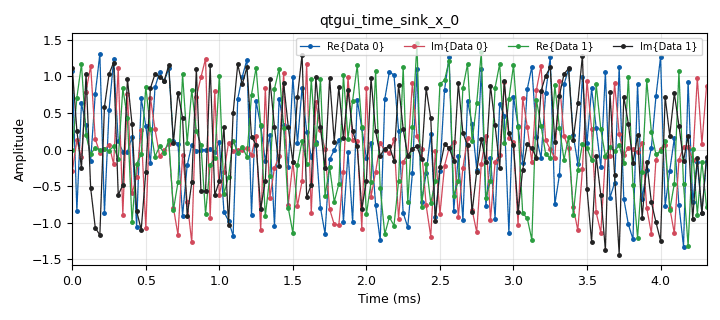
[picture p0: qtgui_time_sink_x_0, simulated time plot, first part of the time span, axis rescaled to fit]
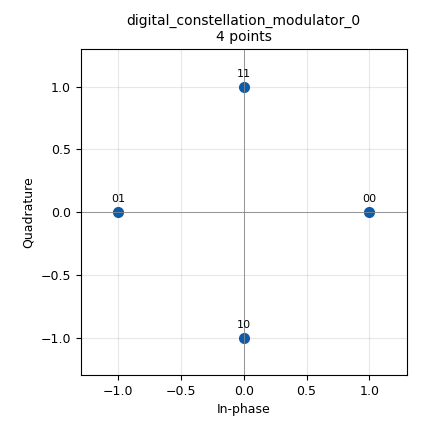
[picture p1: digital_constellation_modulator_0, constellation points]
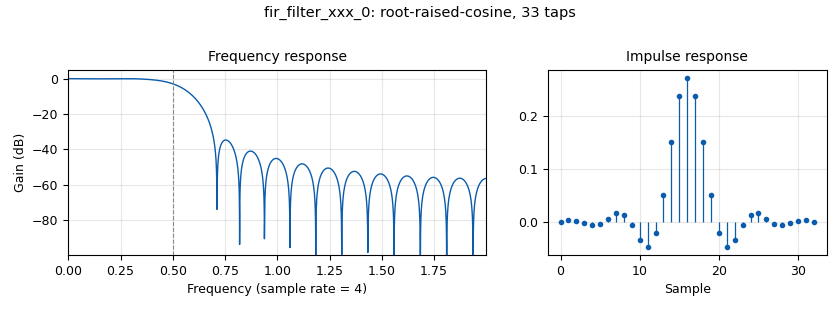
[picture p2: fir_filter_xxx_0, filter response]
<?xml version='1.0' encoding='utf-8'?>
<?grc format='1' created='3.7.10'?>
<flow_graph>
<block>
<key>options</key>
<param><key>id</key><value>top_block</value></param>
<param><key>generate_options</key><value>qt_gui</value></param>
</block>
<block>
<key>variable</key>
<param><key>id</key><value>excess_bw</value></param>
<param><key>value</key><value>0.35</value></param>
</block>
<block>
<key>variable_constellation_rect</key>
<param><key>id</key><value>qpsk</value></param>
<param><key>const_points</key><value>[1+0j,-1+0j,0-1j,0+1j]</value></param>
<param><key>imag_sect</key><value>2</value></param>
<param><key>real_sect</key><value>2</value></param>
<param><key>rot_sym</key><value>4</value></param>
<param><key>sym_map</key><value>[0, 1, 2, 3]</value></param>
<param><key>w_imag_sect</key><value>1</value></param>
<param><key>w_real_sect</key><value>1</value></param>
</block>
<block>
<key>variable_constellation_rect</key>
<param><key>id</key><value>qpsk_0</value></param>
<param><key>const_points</key><value>[1+1j,1-1j,-1+1j,-1-1j]</value></param>
<param><key>imag_sect</key><value>2</value></param>
<param><key>real_sect</key><value>2</value></param>
<param><key>rot_sym</key><value>4</value></param>
<param><key>sym_map</key><value>[0, 1, 2, 3]</value></param>
<param><key>w_imag_sect</key><value>1</value></param>
<param><key>w_real_sect</key><value>1</value></param>
</block>
<block>
<key>variable</key>
<param><key>id</key><value>rrc_taps</value></param>
<param><key>value</key><value>firdes.root_raised_cosine(1, sps, 1, excess_bw, 32)</value></param>
</block>
<block>
<key>variable</key>
<param><key>id</key><value>samp_rate</value></param>
<param><key>value</key><value>32000</value></param>
</block>
<block>
<key>variable</key>
<param><key>id</key><value>sps</value></param>
<param><key>value</key><value>4</value></param>
</block>
<block>
<key>analog_random_source_x</key>
<param><key>id</key><value>analog_random_source_x_0</value></param>
<param><key>max</key><value>255</value></param>
<param><key>min</key><value>0</value></param>
<param><key>num_samps</key><value>1000</value></param>
<param><key>type</key><value>byte</value></param>
<param><key>repeat</key><value>True</value></param>
</block>
<block>
<key>blocks_throttle</key>
<param><key>id</key><value>blocks_throttle_0</value></param>
<param><key>samples_per_second</key><value>samp_rate</value></param>
<param><key>type</key><value>complex</value></param>
</block>
<block>
<key>blocks_vector_source_x</key>
<param><key>id</key><value>blocks_vector_source_x_0</value></param>
<param><key>_enabled</key><value>0</value></param>
<param><key>type</key><value>byte</value></param>
<param><key>repeat</key><value>True</value></param>
<param><key>vector</key><value>(57,57)</value></param>
</block>
<block>
<key>digital_constellation_modulator</key>
<param><key>id</key><value>digital_constellation_modulator_0</value></param>
<param><key>constellation</key><value>qpsk</value></param>
<param><key>differential</key><value>False</value></param>
<param><key>excess_bw</key><value>excess_bw</value></param>
<param><key>samples_per_symbol</key><value>sps</value></param>
</block>
<block>
<key>digital_constellation_modulator</key>
<param><key>id</key><value>digital_constellation_modulator_0_0</value></param>
<param><key>constellation</key><value>qpsk</value></param>
<param><key>differential</key><value>True</value></param>
<param><key>excess_bw</key><value>excess_bw</value></param>
<param><key>samples_per_symbol</key><value>sps</value></param>
</block>
<block>
<key>fir_filter_xxx</key>
<param><key>id</key><value>fir_filter_xxx_0</value></param>
<param><key>decim</key><value>1</value></param>
<param><key>taps</key><value>rrc_taps</value></param>
<param><key>type</key><value>ccc</value></param>
</block>
<block>
<key>fir_filter_xxx</key>
<param><key>id</key><value>fir_filter_xxx_0_0</value></param>
<param><key>decim</key><value>1</value></param>
<param><key>taps</key><value>rrc_taps</value></param>
<param><key>type</key><value>ccc</value></param>
</block>
<block>
<key>fractional_resampler_xx</key>
<param><key>id</key><value>fractional_resampler_xx_0_0_0</value></param>
<param><key>phase_shift</key><value>0.2</value></param>
<param><key>resamp_ratio</key><value>4</value></param>
<param><key>type</key><value>complex</value></param>
</block>
<block>
<key>fractional_resampler_xx</key>
<param><key>id</key><value>fractional_resampler_xx_0_0_0_0</value></param>
<param><key>phase_shift</key><value>0</value></param>
<param><key>resamp_ratio</key><value>4</value></param>
<param><key>type</key><value>complex</value></param>
</block>
<block>
<key>qtgui_time_sink_x</key>
<param><key>id</key><value>qtgui_time_sink_x_0</value></param>
<param><key>color1</key><value>"blue"</value></param>
<param><key>label1</key><value></value></param>
<param><key>marker1</key><value>0</value></param>
<param><key>color2</key><value>"red"</value></param>
<param><key>label2</key><value></value></param>
<param><key>marker2</key><value>0</value></param>
<param><key>color3</key><value>"cyan"</value></param>
<param><key>label3</key><value></value></param>
<param><key>marker3</key><value>0</value></param>
<param><key>color4</key><value>"black"</value></param>
<param><key>label4</key><value></value></param>
<param><key>marker4</key><value>0</value></param>
<param><key>nconnections</key><value>2</value></param>
<param><key>size</key><value>2000</value></param>
<param><key>srate</key><value>samp_rate</value></param>
<param><key>type</key><value>complex</value></param>
</block>
<connection><source_block_id>analog_random_source_x_0</source_block_id><sink_block_id>digital_constellation_modulator_0</sink_block_id><source_key>0</source_key><sink_key>0</sink_key></connection>
<connection><source_block_id>analog_random_source_x_0</source_block_id><sink_block_id>digital_constellation_modulator_0_0</sink_block_id><source_key>0</source_key><sink_key>0</sink_key></connection>
<connection><source_block_id>blocks_throttle_0</source_block_id><sink_block_id>fir_filter_xxx_0</sink_block_id><source_key>0</source_key><sink_key>0</sink_key></connection>
<connection><source_block_id>blocks_vector_source_x_0</source_block_id><sink_block_id>digital_constellation_modulator_0</sink_block_id><source_key>0</source_key><sink_key>0</sink_key></connection>
<connection><source_block_id>blocks_vector_source_x_0</source_block_id><sink_block_id>digital_constellation_modulator_0_0</sink_block_id><source_key>0</source_key><sink_key>0</sink_key></connection>
<connection><source_block_id>digital_constellation_modulator_0</source_block_id><sink_block_id>blocks_throttle_0</sink_block_id><source_key>0</source_key><sink_key>0</sink_key></connection>
<connection><source_block_id>digital_constellation_modulator_0_0</source_block_id><sink_block_id>fir_filter_xxx_0_0</sink_block_id><source_key>0</source_key><sink_key>0</sink_key></connection>
<connection><source_block_id>fir_filter_xxx_0</source_block_id><sink_block_id>fractional_resampler_xx_0_0_0</sink_block_id><source_key>0</source_key><sink_key>0</sink_key></connection>
<connection><source_block_id>fir_filter_xxx_0_0</source_block_id><sink_block_id>fractional_resampler_xx_0_0_0_0</sink_block_id><source_key>0</source_key><sink_key>0</sink_key></connection>
<connection><source_block_id>fractional_resampler_xx_0_0_0</source_block_id><sink_block_id>qtgui_time_sink_x_0</sink_block_id><source_key>0</source_key><sink_key>0</sink_key></connection>
<connection><source_block_id>fractional_resampler_xx_0_0_0_0</source_block_id><sink_block_id>qtgui_time_sink_x_0</sink_block_id><source_key>0</source_key><sink_key>1</sink_key></connection>
</flow_graph>
